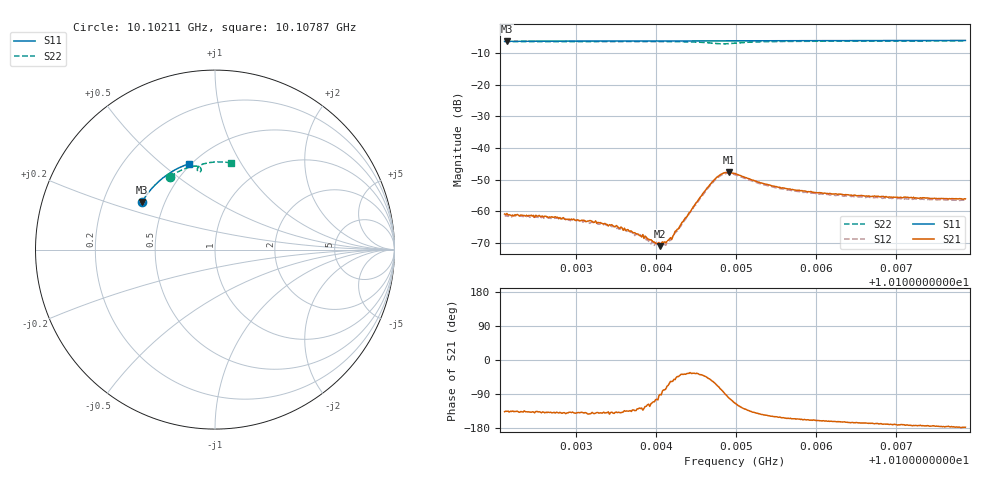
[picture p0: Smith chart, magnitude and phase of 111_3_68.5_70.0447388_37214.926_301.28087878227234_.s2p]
#  HZ  S  RI  R  50.00
! Rohde & Schwarz Vector Network Analyzer
! Rohde-Schwarz,ZNB20-2Port,1311601062101988,3.16
! Created: UTC 3/20/2024, 5:08:43 PM
! freq[Hz]  re:S11  im:S11  re:S21  im:S21  re:S12  im:S12  re:S22  im:S22
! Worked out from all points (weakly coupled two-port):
!   401 points, 10.10211 GHz to 10.10787 GHz, reference 50 ohm
!   highest |S21| = -47.67 dB at 10.10492 GHz (marker M1); lowest = -70.9 dB at 10.10405 GHz (marker M2)
!   lowest |S11| = -6.3 dB at 10.10214 GHz (marker M3), VSWR 2.89, Z = 18.7 + j12.9 ohm
!   |S11| at or under -10 dB: nowhere
!   |S22| runs from -7.1 to -6.2 dB; largest |S21 - S12| = 0.00043
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1.0102106e10  -0.4076 0.2633  -0.000659 -0.00063  -0.000567 -0.000655  -0.2502 0.4069
1.0102135e10  -0.4066 0.2649  -0.000661 -0.000651  -0.000547 -0.000663  -0.2486 0.4078
1.0102827e10  -0.3838 0.3004  -0.000604 -0.000498  -0.00053 -0.000552  -0.2098 0.4312
1.0103072e10  -0.3751 0.3124  -0.000541 -0.000489  -0.000509 -0.000497  -0.1953 0.4386
1.0103273e10  -0.3677 0.3221  -0.000505 -0.000445  -0.000456 -0.00044  -0.1831 0.4443
1.010359e10  -0.3553 0.337  -0.000371 -0.000343  -0.000338 -0.000391  -0.1629 0.4526
1.0103821e10  -0.346 0.3473  -0.000237 -0.000318  -0.000206 -0.000349  -0.1475 0.458
1.0103907e10  -0.3425 0.3512  -0.000163 -0.000328  -0.000141 -0.000308  -0.1415 0.4598
1.0104037e10  -0.337 0.3569  -2.28e-05 -0.000324  -1.81e-05 -0.000287  -0.132 0.4622
1.0104051e10  -0.3363 0.3575  -3.78e-06 -0.000284  2.05e-05 -0.000293  -0.1309 0.4625
1.0104137e10  -0.3327 0.3612  0.000122 -0.000319  0.000106 -0.000307  -0.1243 0.464
1.0104195e10  -0.3302 0.3638  0.000198 -0.000303  0.000237 -0.000279  -0.1197 0.4644
1.010457e10  -0.3137 0.3793  0.00139 -0.00112  0.00142 -0.000947  -0.0853 0.4595
1.0104728e10  -0.3064 0.3857  0.00159 -0.00273  0.00175 -0.00249  -0.0765 0.4433
1.0104829e10  -0.3018 0.3895  0.0006 -0.00389  0.000892 -0.0037  -0.084 0.4337
1.0104915e10  -0.298 0.3928  -0.000788 -0.00406  -0.000406 -0.00396  -0.0943 0.436
1.0104987e10  -0.2947 0.3955  -0.00162 -0.00364  -0.00127 -0.00357  -0.0984 0.4435
1.0105261e10  -0.2819 0.4059  -0.00228 -0.00189  -0.00203 -0.00199  -0.0851 0.4676
1.0105463e10  -0.2719 0.4132  -0.00216 -0.0013  -0.00196 -0.00146  -0.0698 0.4757
1.0105952e10  -0.2472 0.4297  -0.00188 -0.000713  -0.00175 -0.000842  -0.0344 0.4844
1.0106917e10  -0.1961 0.4579  -0.00167 -0.00029  -0.00156 -0.000426  0.0303 0.4884
1.0107868e10  -0.1426 0.4793  -0.00158 -6.78e-05  -0.00149 -0.000209  0.0916 0.4833
